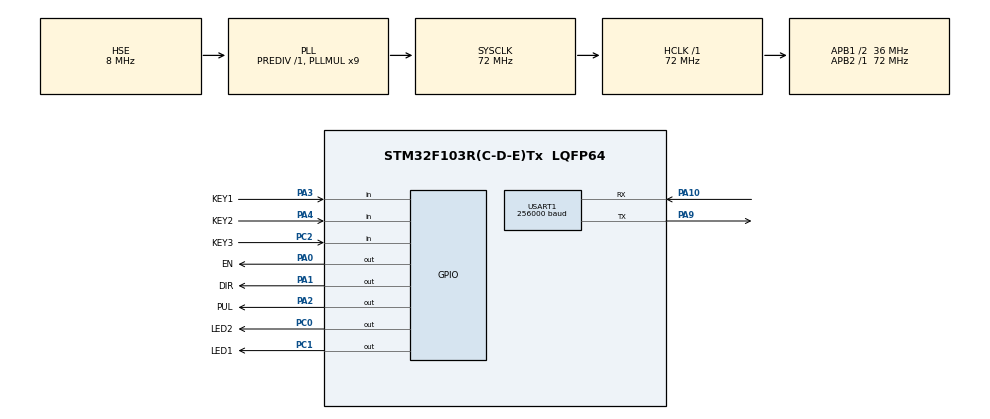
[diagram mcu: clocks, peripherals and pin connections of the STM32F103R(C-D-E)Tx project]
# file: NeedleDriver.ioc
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Mcu.Family=STM32F1
Mcu.Name=STM32F103R(C-D-E)Tx
Mcu.Package=LQFP64
NVIC.PriorityGroup=NVIC_PRIORITYGROUP_4
NVIC.TIM2_IRQn=true\:0\:0\:false\:false\:true\:true\:true
NVIC.USART1_IRQn=true\:0\:0\:false\:false\:true\:true\:true
PA0-WKUP.GPIO_Label=EN
PA0-WKUP.GPIO_Speed=GPIO_SPEED_FREQ_HIGH
PA0-WKUP.PinState=GPIO_PIN_SET
PA0-WKUP.Signal=GPIO_Output
PA1.GPIO_Label=DIR
PA1.GPIO_Speed=GPIO_SPEED_FREQ_HIGH
PA1.PinState=GPIO_PIN_SET
PA1.Signal=GPIO_Output
PA10.Mode=Asynchronous
PA10.Signal=USART1_RX
PA13.Mode=Serial_Wire
PA13.Signal=SYS_JTMS-SWDIO
PA14.Mode=Serial_Wire
PA14.Signal=SYS_JTCK-SWCLK
PA2.GPIO_Label=PUL
PA2.GPIO_Speed=GPIO_SPEED_FREQ_HIGH
PA2.PinState=GPIO_PIN_SET
PA2.Signal=GPIO_Output
PA3.GPIO_Label=KEY1
PA3.GPIO_PuPd=GPIO_PULLUP
PA3.Signal=GPIO_Input
PA4.GPIO_Label=KEY2
PA4.GPIO_PuPd=GPIO_PULLUP
PA4.Signal=GPIO_Input
PA9.Mode=Asynchronous
PA9.Signal=USART1_TX
PC0.GPIO_Label=LED2
PC0.PinState=GPIO_PIN_SET
PC0.Signal=GPIO_Output
PC1.GPIO_Label=LED1
PC1.PinState=GPIO_PIN_SET
PC1.Signal=GPIO_Output
PC14-OSC32_IN.Mode=LSE-External-Oscillator
PC14-OSC32_IN.Signal=RCC_OSC32_IN
PC15-OSC32_OUT.Mode=LSE-External-Oscillator
PC15-OSC32_OUT.Signal=RCC_OSC32_OUT
PC2.GPIO_Label=KEY3
PC2.GPIO_PuPd=GPIO_PULLDOWN
PC2.Signal=GPIO_Input
PD0-OSC_IN.Mode=HSE-External-Oscillator
PD0-OSC_IN.Signal=RCC_OSC_IN
PD1-OSC_OUT.Mode=HSE-External-Oscillator
PD1-OSC_OUT.Signal=RCC_OSC_OUT
ProjectManager.HeapSize=0x200
ProjectManager.StackSize=0x400
ProjectManager.TargetToolchain=MDK-ARM V5.32
RCC.AHBFreq_Value=72000000
RCC.APB1CLKDivider=RCC_HCLK_DIV2
RCC.APB1Freq_Value=36000000
RCC.APB1TimFreq_Value=72000000
RCC.APB2Freq_Value=72000000
RCC.APB2TimFreq_Value=72000000
RCC.HCLKFreq_Value=72000000
RCC.PLLMUL=RCC_PLL_MUL9
RCC.PLLSourceVirtual=RCC_PLLSOURCE_HSE
RCC.SYSCLKFreq_VALUE=72000000
RCC.SYSCLKSource=RCC_SYSCLKSOURCE_PLLCLK
RCC.USBFreq_Value=72000000
TIM2.AutoReloadPreload=TIM_AUTORELOAD_PRELOAD_ENABLE
TIM2.Period=49
TIM2.Prescaler=719
USART1.BaudRate=256000
USART1.VirtualMode=VM_ASYNC
VP_TIM2_VS_ClockSourceINT.Mode=Internal
board=custom

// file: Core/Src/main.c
/* USER CODE BEGIN Header */
/**
  ******************************************************************************
  * @file           : main.c
  * @brief          : Main program body
  ******************************************************************************
  * @attention
  *
  * Copyright (c) 2024 STMicroelectronics.
  * All rights reserved.
  *
  * This software is licensed under terms that can be found in the LICENSE file
  * in the root directory of this software component.
  * If no LICENSE file comes with this software, it is provided AS-IS.
  *
  ******************************************************************************
  */
/* USER CODE END Header */
#include "main.h"

/* USER CODE BEGIN Includes */
#include <string.h>
#include <stdio.h>
/* USER CODE END Includes */

TIM_HandleTypeDef htim2;

UART_HandleTypeDef huart1;

/* USER CODE BEGIN PV */

#define SYSTICK_LOAD (SystemCoreClock/1000000U)
#define SYSTICK_DELAY_CALIB (SYSTICK_LOAD >> 1)
#define DELAY_US(us) \
    do { \
         uint32_t start = SysTick->VAL; \
         uint32_t ticks = (us * SYSTICK_LOAD)-SYSTICK_DELAY_CALIB;  \
         while((start - SysTick->VAL) < ticks); \
    } while (0)

/* UART RX handling */
#define RXBUFFERSIZE  64
char RxBuffer[RXBUFFERSIZE];
uint8_t aRxBuffer;
uint8_t Uart1_Rx_Cnt = 0;
uint8_t cmd[3];
uint8_t query_flag = 0;

/* Command preemption: set to 1 by RX ISR when a normal command arrives */
volatile uint8_t new_cmd_ready = 0;

uint8_t state = 1;
uint8_t flag = 0;       /* 1 while executing a command */
uint32_t current_mm = 0; /* position in 0.01 mm units (1mm = 100) */

/* Accumulate pulses not equal to a full 0.01mm (32 pulses = 1 unit) */
static volatile int32_t pulse_accum = 0;

#define TXBUFFERSIZE  7
char TxBuffer[TXBUFFERSIZE] = {0xff, 0x0, 0x0, 0x0, 0x0, 0x0d, 0x0a};

#define WARNING_LED()        HAL_GPIO_WritePin(LED2_GPIO_Port, LED2_Pin, GPIO_PIN_RESET)
#define STATUS_LED()         HAL_GPIO_TogglePin(LED1_GPIO_Port, LED1_Pin)

#define CLOCKWISE            0
#define ANTI_CLOCKWISE       1

#define MOTOR_EN_ON()        HAL_GPIO_WritePin(EN_GPIO_Port, EN_Pin, GPIO_PIN_SET)  /* motor shut down (driver EN high) */
#define MOTOR_EN_OFF()       HAL_GPIO_WritePin(EN_GPIO_Port, EN_Pin, GPIO_PIN_RESET)
#define MOTOR_PUL_ON()       HAL_GPIO_WritePin(PUL_GPIO_Port, PUL_Pin, GPIO_PIN_SET)
#define MOTOR_PUL_OFF()      HAL_GPIO_WritePin(PUL_GPIO_Port, PUL_Pin, GPIO_PIN_RESET)
#define MOTOR_DIR_ON()       HAL_GPIO_WritePin(DIR_GPIO_Port, DIR_Pin, GPIO_PIN_SET)
#define MOTOR_DIR_OFF()      HAL_GPIO_WritePin(DIR_GPIO_Port, DIR_Pin, GPIO_PIN_RESET)

/* stepper_turn return codes */
#define TURN_DONE            1u
#define TURN_ABORTED         2u
#define TURN_LIMIT_REACHED   3u

/* Perform angle turn at timing 'tim' us per pulse edge; supports preemption.
   Updates current_mm in 0.01 mm units based on actual pulses emitted.
   Returns:
     TURN_DONE          - requested angle completed
     TURN_ABORTED       - aborted due to new_cmd_ready
     TURN_LIMIT_REACHED - limit/home switch condition met (state=0) */
uint8_t stepper_turn(int tim, float angle, uint8_t dir)
{
    float subdivide = 32.0f; /* usteps per 1.8° */
    int n = (int)(angle / (1.8f / subdivide)); /* pulses to emit for requested angle */

    if (dir == CLOCKWISE)
        MOTOR_DIR_ON();
    else /* ANTI_CLOCKWISE */
        MOTOR_DIR_OFF();

    int pulses_sent = 0;
    uint8_t ret = TURN_DONE;

    for (int i = 0; i < n; i++)
    {
        /* Preempt as soon as a new command is ready */
        if (new_cmd_ready) { ret = TURN_ABORTED; break; }

        /* Limit switch handling (home at CLOCKWISE direction) */
        if (HAL_GPIO_ReadPin(KEY3_GPIO_Port, KEY3_Pin) == GPIO_PIN_SET && dir == CLOCKWISE)
        {
            MOTOR_EN_ON();  /* disable motor driver */
            state = 0;      /* at home/end */
            ret = TURN_LIMIT_REACHED;
            break;
        }
        else if (HAL_GPIO_ReadPin(KEY3_GPIO_Port, KEY3_Pin) == GPIO_PIN_RESET || dir == ANTI_CLOCKWISE)
        {
            MOTOR_EN_OFF();
            state = 1;
        }

        /* One step pulse */
        MOTOR_PUL_OFF();
        DELAY_US(tim/2);
        MOTOR_PUL_ON();
        DELAY_US(tim/2);
        HAL_GPIO_WritePin(LED1_GPIO_Port, LED1_Pin, GPIO_PIN_RESET);

        pulses_sent++;
    }

    /* Update position based on emitted pulses (32 pulses = 0.01 mm = 1 unit) */
    if (state == 0)  /* reached home */
    {
        current_mm = 0;
        pulse_accum = 0;
    }
    else
    {
        if (dir == ANTI_CLOCKWISE)
            pulse_accum += pulses_sent;
        else
            pulse_accum -= pulses_sent;

        while (pulse_accum >= 32) { current_mm += 1; pulse_accum -= 32; }
        while (pulse_accum <= -32) { current_mm -= 1; pulse_accum += 32; }
    }

    return ret;
}

/* USER CODE END PV */

void SystemClock_Config(void);
static void MX_GPIO_Init(void);
static void MX_USART1_UART_Init(void);
static void MX_TIM2_Init(void);

int main(void)
{

  /* MCU Configuration--------------------------------------------------------*/

  /* Reset of all peripherals, Initializes the Flash interface and the Systick. */
  HAL_Init();

  /* Configure the system clock */
  SystemClock_Config();

  /* Initialize all configured peripherals */
  MX_GPIO_Init();
  MX_USART1_UART_Init();
  MX_TIM2_Init();
  /* USER CODE BEGIN 2 */
  HAL_UART_Receive_IT(&huart1, (uint8_t *)&aRxBuffer, 1);
  HAL_TIM_Base_Start_IT(&htim2);
  /* USER CODE END 2 */

  /* Infinite loop */
  /* USER CODE BEGIN WHILE */
  MOTOR_EN_OFF();

  uint8_t direction = CLOCKWISE;
  uint8_t circ = 0, vel = 0;
  int time_per_step = 0;
  int32_t steps_remaining = 0; /* number of 0.5 mm (90°) chunks to execute */

  /* Reset needle position (home), but allow preemption by new command */
  while (state)
  {
      if (new_cmd_ready) break; /* preempt homing if command arrives */
      (void)stepper_turn(20, 30, CLOCKWISE);
      current_mm = 0;
  }

  while (1)
  {
    HAL_GPIO_WritePin(LED1_GPIO_Port, LED1_Pin, GPIO_PIN_SET);

    /* If a new command arrived, accept it and preempt any current command */
    if (new_cmd_ready)
    {
        /* cmd[0]=dir, cmd[1]=length, cmd[2]=velocity */
        if (cmd[1] != 0 && cmd[2] != 0)
        {
            flag = 1; /* busy */
            direction = (cmd[0] == 1) ? ANTI_CLOCKWISE : CLOCKWISE;

            circ = cmd[1] / 2;       /* 360deg -> 2mm (keep original mapping) */
            vel = cmd[2];            /* mm/s */
            time_per_step = (int)(0.5f / vel * 1000.0f);  /* original formula kept */

            steps_remaining = 4 * circ; /* number of 0.5mm (90°) segments */

            /* Start immediately; clear the ready flag so we know we've taken it */
            new_cmd_ready = 0;
        }
        else
        {
            /* Invalid command (length/vel zero): ignore */
            new_cmd_ready = 0;
        }
    }

    if (flag && steps_remaining > 0)
    {
        /* Execute one 0.5mm chunk (90°). This call is preemptible. */
        uint8_t r = stepper_turn(time_per_step, 90, direction);

        if (r == TURN_DONE)
        {
            steps_remaining--;
            if (steps_remaining <= 0)
            {
                flag = 0;
                memset(cmd, 0, 3);
            }
        }
        else if (r == TURN_ABORTED)
        {
            /* New command arrived: stop current, main loop will pick it up next iteration */
            flag = 0;
            /* Do not clear cmd/new_cmd_ready here; they hold the new command */
        }
        else if (r == TURN_LIMIT_REACHED)
        {
            /* Hit home/limit; stop current command */
            flag = 0;
            steps_remaining = 0;
            memset(cmd, 0, 3);
        }

        /* After handling one chunk (or abort), continue loop */
        continue;
    }

    /* No active command: allow manual jogging, but still preemptible */
    while (HAL_GPIO_ReadPin(KEY1_GPIO_Port, KEY1_Pin) == GPIO_PIN_RESET)
    {
        if (new_cmd_ready) break; /* preempt manual move */
        uint8_t r = stepper_turn(45, 90, ANTI_CLOCKWISE);
        if (r != TURN_DONE) break; /* limit or abort */
    }
    while (HAL_GPIO_ReadPin(KEY2_GPIO_Port, KEY2_Pin) == GPIO_PIN_RESET)
    {
        if (new_cmd_ready) break; /* preempt manual move */
        uint8_t r = stepper_turn(45, 90, CLOCKWISE);
        if (r != TURN_DONE) break; /* limit or abort */
    }

    /* USER CODE END WHILE */

  }
}

void SystemClock_Config(void)
{
  RCC_OscInitTypeDef RCC_OscInitStruct = {0};
  RCC_ClkInitTypeDef RCC_ClkInitStruct = {0};

  /** Initializes the RCC Oscillators according to the specified parameters
  * in the RCC_OscInitTypeDef structure.
  */
  RCC_OscInitStruct.OscillatorType = RCC_OSCILLATORTYPE_HSE;
  RCC_OscInitStruct.HSEState = RCC_HSE_ON;
  RCC_OscInitStruct.HSEPredivValue = RCC_HSE_PREDIV_DIV1;
  RCC_OscInitStruct.HSIState = RCC_HSI_ON;
  RCC_OscInitStruct.PLL.PLLState = RCC_PLL_ON;
  RCC_OscInitStruct.PLL.PLLSource = RCC_PLLSOURCE_HSE;
  RCC_OscInitStruct.PLL.PLLMUL = RCC_PLL_MUL9;
  if (HAL_RCC_OscConfig(&RCC_OscInitStruct) != HAL_OK)
  {
    Error_Handler();
  }
  /** Initializes the CPU, AHB and APB buses clocks
  */
  RCC_ClkInitStruct.ClockType = RCC_CLOCKTYPE_HCLK|RCC_CLOCKTYPE_SYSCLK
                              |RCC_CLOCKTYPE_PCLK1|RCC_CLOCKTYPE_PCLK2;
  RCC_ClkInitStruct.SYSCLKSource = RCC_SYSCLKSOURCE_PLLCLK;
  RCC_ClkInitStruct.AHBCLKDivider = RCC_SYSCLK_DIV1;
  RCC_ClkInitStruct.APB1CLKDivider = RCC_HCLK_DIV2;
  RCC_ClkInitStruct.APB2CLKDivider = RCC_HCLK_DIV1;

  if (HAL_RCC_ClockConfig(&RCC_ClkInitStruct, FLASH_LATENCY_2) != HAL_OK)
  {
    Error_Handler();
  }
}

static void MX_TIM2_Init(void)
{

  TIM_ClockConfigTypeDef sClockSourceConfig = {0};
  TIM_MasterConfigTypeDef sMasterConfig = {0};

  htim2.Instance = TIM2;
  htim2.Init.Prescaler = 719;
  htim2.Init.CounterMode = TIM_COUNTERMODE_UP;
  htim2.Init.Period = 49;
  htim2.Init.ClockDivision = TIM_CLOCKDIVISION_DIV1;
  htim2.Init.AutoReloadPreload = TIM_AUTORELOAD_PRELOAD_ENABLE;
  if (HAL_TIM_Base_Init(&htim2) != HAL_OK)
  {
    Error_Handler();
  }
  sClockSourceConfig.ClockSource = TIM_CLOCKSOURCE_INTERNAL;
  if (HAL_TIM_ConfigClockSource(&htim2, &sClockSourceConfig) != HAL_OK)
  {
    Error_Handler();
  }
  sMasterConfig.MasterOutputTrigger = TIM_TRGO_RESET;
  sMasterConfig.MasterSlaveMode = TIM_MASTERSLAVEMODE_DISABLE;
  if (HAL_TIMEx_MasterConfigSynchronization(&htim2, &sMasterConfig) != HAL_OK)
  {
    Error_Handler();
  }

}

static void MX_USART1_UART_Init(void)
{

  huart1.Instance = USART1;
  huart1.Init.BaudRate = 256000;
  huart1.Init.WordLength = UART_WORDLENGTH_8B;
  huart1.Init.StopBits = UART_STOPBITS_1;
  huart1.Init.Parity = UART_PARITY_NONE;
  huart1.Init.Mode = UART_MODE_TX_RX;
  huart1.Init.HwFlowCtl = UART_HWCONTROL_NONE;
  huart1.Init.OverSampling = UART_OVERSAMPLING_16;
  if (HAL_UART_Init(&huart1) != HAL_OK)
  {
    Error_Handler();
  }

}

static void MX_GPIO_Init(void)
{
  GPIO_InitTypeDef GPIO_InitStruct = {0};

  /* GPIO Ports Clock Enable */
  __HAL_RCC_GPIOC_CLK_ENABLE();
  __HAL_RCC_GPIOD_CLK_ENABLE();
  __HAL_RCC_GPIOA_CLK_ENABLE();

  /*Configure GPIO pin Output Level */
  HAL_GPIO_WritePin(GPIOC, LED2_Pin|LED1_Pin, GPIO_PIN_SET);

  /*Configure GPIO pin Output Level */
  HAL_GPIO_WritePin(GPIOA, EN_Pin|DIR_Pin|PUL_Pin, GPIO_PIN_SET);

  /*Configure GPIO pins : LED2_Pin LED1_Pin */
  GPIO_InitStruct.Pin = LED2_Pin|LED1_Pin;
  GPIO_InitStruct.Mode = GPIO_MODE_OUTPUT_PP;
  GPIO_InitStruct.Pull = GPIO_NOPULL;
  GPIO_InitStruct.Speed = GPIO_SPEED_FREQ_LOW;
  HAL_GPIO_Init(GPIOC, &GPIO_InitStruct);

  /*Configure GPIO pin : KEY3_Pin */
  GPIO_InitStruct.Pin = KEY3_Pin;
  GPIO_InitStruct.Mode = GPIO_MODE_INPUT;
  GPIO_InitStruct.Pull = GPIO_PULLDOWN;
  HAL_GPIO_Init(KEY3_GPIO_Port, &GPIO_InitStruct);

  /*Configure GPIO pins : EN_Pin DIR_Pin PUL_Pin */
  GPIO_InitStruct.Pin = EN_Pin|DIR_Pin|PUL_Pin;
  GPIO_InitStruct.Mode = GPIO_MODE_OUTPUT_PP;
  GPIO_InitStruct.Pull = GPIO_NOPULL;
  GPIO_InitStruct.Speed = GPIO_SPEED_FREQ_HIGH;
  HAL_GPIO_Init(GPIOA, &GPIO_InitStruct);

  /*Configure GPIO pins : KEY1_Pin KEY2_Pin */
  GPIO_InitStruct.Pin = KEY1_Pin|KEY2_Pin;
  GPIO_InitStruct.Mode = GPIO_MODE_INPUT;
  GPIO_InitStruct.Pull = GPIO_PULLUP;
  HAL_GPIO_Init(GPIOA, &GPIO_InitStruct);

}

/* USER CODE BEGIN 4 */

void HAL_UART_RxCpltCallback(UART_HandleTypeDef *huart)
{
  /* Prevent unused argument(s) compilation warning */
  UNUSED(huart);
  /* NOTE: This function Should not be modified, when the callback is needed,
           the HAL_UART_TxCpltCallback could be implemented in the user file
   */

  if(Uart1_Rx_Cnt >= 255)
  {
    Uart1_Rx_Cnt = 0;
    memset(RxBuffer,0x00,sizeof(RxBuffer));
  }
  else
  {
    RxBuffer[Uart1_Rx_Cnt++] = aRxBuffer;   /* save */

    if((RxBuffer[Uart1_Rx_Cnt-1] == 0x0A)&&(RxBuffer[Uart1_Rx_Cnt-2] == 0x0D))  /* detect the end sign 0x0D0A */
    {
      /*HAL_UART_Transmit(&huart1, (uint8_t *)&RxBuffer, Uart1_Rx_Cnt,0xFFFF);*/

      if (RxBuffer[1] == (char)0xaa && RxBuffer[3] == (char)0xaa && RxBuffer[4] == (char)0xaa && RxBuffer[6] == (char)0xaa && RxBuffer[7] == (char)0xaa)
      {
        query_flag = 1;
      }
      else
      {
        /* Normal command: parse and mark as ready (this will preempt motion) */
        cmd[0] = RxBuffer[1];
        cmd[1] = (uint8_t)(RxBuffer[3]*10 + RxBuffer[4]);
        cmd[2] = (uint8_t)(RxBuffer[6]*10 + RxBuffer[7]);
        new_cmd_ready = 1; /* signal preemption */
      }
      Uart1_Rx_Cnt = 0;
      memset(RxBuffer,0x00,sizeof(RxBuffer));
    }
  }

  HAL_UART_Receive_IT(&huart1, (uint8_t *)&aRxBuffer, 1);
}

void HAL_TIM_PeriodElapsedCallback(TIM_HandleTypeDef *htim)
{
    if (htim == (&htim2))  /* 5 ms 200 hz */
    {
      if(query_flag)
      {
        TxBuffer[1] = state;
        TxBuffer[2] = flag;
        TxBuffer[3] = (uint8_t) (current_mm / 100);
        TxBuffer[4] = (uint8_t) (current_mm % 100);
        HAL_UART_Transmit(&huart1, (uint8_t *)&TxBuffer, TXBUFFERSIZE, 0xFF);
        query_flag = 0;
      }
    }
}

/* USER CODE END 4 */

void Error_Handler(void)
{
  __disable_irq();
  while (1)
  {
  }
}
